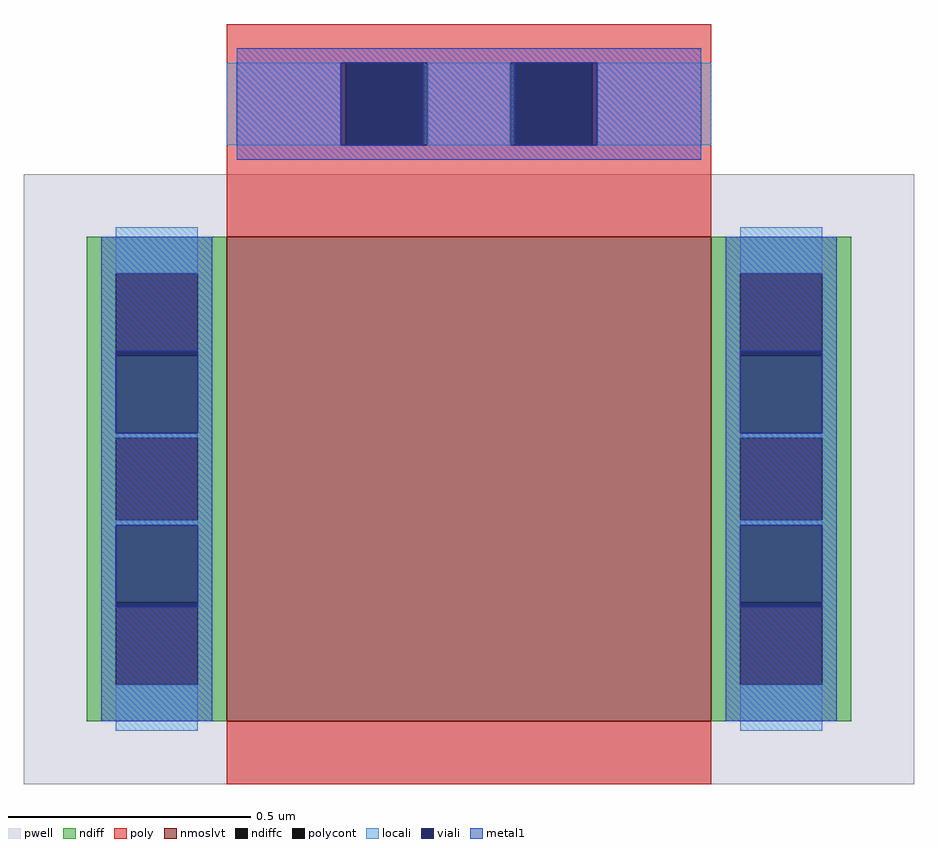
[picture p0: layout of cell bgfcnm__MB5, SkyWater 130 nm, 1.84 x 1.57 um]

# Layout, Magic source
magic
tech sky130A
magscale 1 2
<< pwell >>
rect -184 -157 184 95
<< nmoslvt >>
rect -100 -131 100 69
<< ndiff >>
rect -158 54 -100 69
rect -158 20 -146 54
rect -112 20 -100 54
rect -158 -14 -100 20
rect -158 -48 -146 -14
rect -112 -48 -100 -14
rect -158 -82 -100 -48
rect -158 -116 -146 -82
rect -112 -116 -100 -82
rect -158 -131 -100 -116
rect 100 54 158 69
rect 100 20 112 54
rect 146 20 158 54
rect 100 -14 158 20
rect 100 -48 112 -14
rect 146 -48 158 -14
rect 100 -82 158 -48
rect 100 -116 112 -82
rect 146 -116 158 -82
rect 100 -131 158 -116
<< ndiffc >>
rect -146 20 -112 54
rect -146 -48 -112 -14
rect -146 -116 -112 -82
rect 112 20 146 54
rect 112 -48 146 -14
rect 112 -116 146 -82
<< poly >>
rect -100 141 100 157
rect -100 107 -51 141
rect -17 107 17 141
rect 51 107 100 141
rect -100 69 100 107
rect -100 -157 100 -131
<< polycont >>
rect -51 107 -17 141
rect 17 107 51 141
<< locali >>
rect -100 107 -53 141
rect -17 107 17 141
rect 53 107 100 141
rect -146 54 -112 73
rect -146 -14 -112 -12
rect -146 -50 -112 -48
rect -146 -135 -112 -116
rect 112 54 146 73
rect 112 -14 146 -12
rect 112 -50 146 -48
rect 112 -135 146 -116
<< viali >>
rect -53 107 -51 141
rect -51 107 -19 141
rect 19 107 51 141
rect 51 107 53 141
rect -146 20 -112 22
rect -146 -12 -112 20
rect -146 -82 -112 -50
rect -146 -84 -112 -82
rect 112 20 146 22
rect 112 -12 146 20
rect 112 -82 146 -50
rect 112 -84 146 -82
<< metal1 >>
rect -96 141 96 147
rect -96 107 -53 141
rect -19 107 19 141
rect 53 107 96 141
rect -96 101 96 107
rect -152 22 -106 69
rect -152 -12 -146 22
rect -112 -12 -106 22
rect -152 -50 -106 -12
rect -152 -84 -146 -50
rect -112 -84 -106 -50
rect -152 -131 -106 -84
rect 106 22 152 69
rect 106 -12 112 22
rect 146 -12 152 22
rect 106 -50 152 -12
rect 106 -84 112 -50
rect 146 -84 152 -50
rect 106 -131 152 -84
<< end >>
